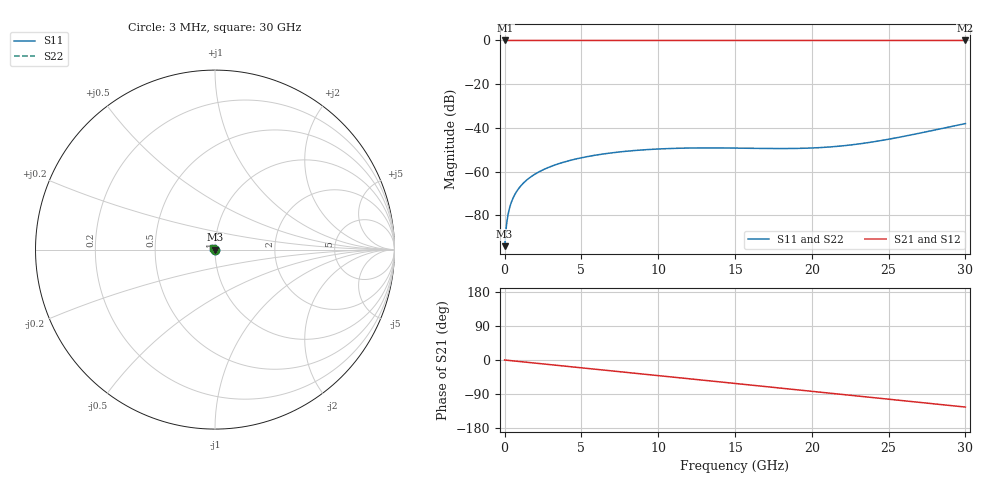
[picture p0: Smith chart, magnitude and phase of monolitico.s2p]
! S parameter file generated by ana
#  GHz  S  DB  R  50
! frequency  S11_dB  S11_deg  S21_dB  S21_deg  S12_dB  S12_deg  S22_dB  S22_deg
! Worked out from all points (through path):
!   10000 points, 3 MHz to 30 GHz, reference 50 ohm
!   highest |S21| = 0.00 dB at 54 MHz (marker M1); lowest = 0.0 dB at 30 GHz (marker M2)
!   group delay of S21, straight-line fit = 11.5 ps
!   lowest |S11| = -94.1 dB at 3 MHz (marker M3), VSWR 1.00, Z = 50 - j0.000134 ohm
!   |S11| at or under -10 dB: start of sweep to end of sweep
!   |S22| runs from -94.1 to -38.0 dB; largest |S21 - S12| = 0
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0.003  -94.14 -3.9  -0.00 -0.0  -0.00 -0.0  -94.14 -176.1
0.054  -90.16 -51.1  -0.00 -0.2  -0.00 -0.2  -90.16 -129.3
0.135  -83.97 -72.5  -0.00 -0.6  -0.00 -0.6  -83.97 -108.6
0.222  -79.92 -79.7  -0.00 -0.9  -0.00 -0.9  -79.92 -102.1
0.525  -72.59 -87.4  -0.00 -2.2  -0.00 -2.2  -72.59 -96.9
0.798  -68.98 -90.1  -0.00 -3.3  -0.00 -3.3  -68.98 -96.4
1.158  -65.77 -92.6  -0.00 -4.7  -0.00 -4.7  -65.77 -96.9
1.611  -62.94 -95.0  -0.00 -6.6  -0.00 -6.6  -62.94 -98.2
2.241  -60.13 -98.1  -0.00 -9.2  -0.00 -9.2  -60.13 -100.3
3.009  -57.68 -101.5  -0.00 -12.3  -0.00 -12.3  -57.68 -103.2
3.93  -55.53 -105.5  -0.00 -16.1  -0.00 -16.1  -55.53 -106.8
5.004  -53.69 -110.0  -0.00 -20.5  -0.00 -20.5  -53.69 -111.1
7.284  -51.17 -119.5  -0.00 -29.9  -0.00 -29.9  -51.17 -120.3
10.002  -49.67 -130.8  -0.00 -41.1  -0.00 -41.1  -49.67 -131.5
12.267  -49.21 -140.2  -0.00 -50.5  -0.00 -50.5  -49.21 -140.8
15.003  -49.25 -151.6  -0.00 -61.9  -0.00 -61.9  -49.25 -152.2
17.529  -49.46 -162.1  -0.00 -72.4  -0.00 -72.4  -49.46 -162.8
20.001  -49.21 -172.3  -0.00 -82.7  -0.00 -82.7  -49.21 -173.1
22.437  -47.91 177.5  -0.00 -92.9  -0.00 -92.9  -47.91 176.7
25.002  -45.21 166.7  -0.00 -103.6  -0.00 -103.6  -45.21 166.1
27.387  -41.90 156.8  -0.00 -113.5  -0.00 -113.5  -41.90 156.2
30  -38.03 146.0  -0.00 -124.2  -0.00 -124.2  -38.03 145.6
